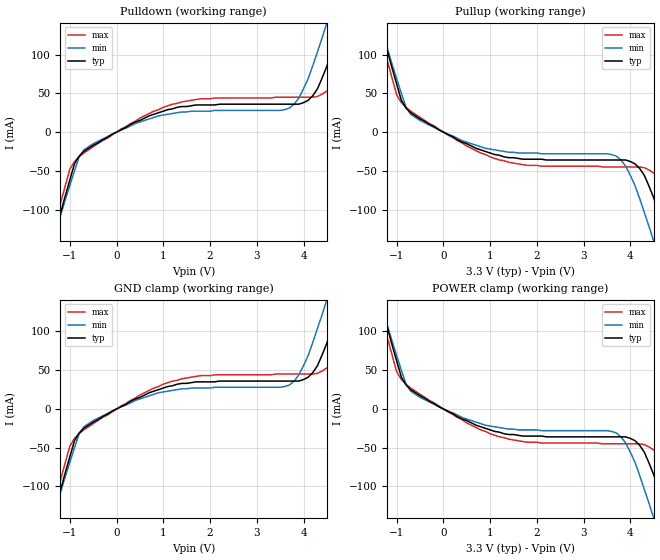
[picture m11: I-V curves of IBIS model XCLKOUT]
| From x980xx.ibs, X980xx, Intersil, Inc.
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|   XCLKOUT MODEL
[Model]   XCLKOUT
Model_type   Output
C_comp   3.218pF  3.091pF  3.347pF
|   typ   min   max
[Voltage Range]   3.3   3   3.6
[Temperature Range]  25   85   -40
[Ramp]
dV/dt_r   1.980/1.380n   1.800/1.670n   2.160/1.107n
dV/dt_f   1.980/1.380n   1.800/1.670n   2.160/1.107n
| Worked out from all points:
|   slope of the pulldown table from 0 to 0.495 V, typ, clamps not added: 33.2 ohm
|   slope of the pullup table from 0 to 0.495 V, typ, clamps not added: 33.2 ohm
|   GND clamp passes 1 mA (typ) near -0.03 V on its own axis
|   POWER clamp passes 1 mA (typ) near -0.03 V on its own axis
[Pulldown]
|V   I(typ)   I(min)   I(max)
-3.3V     -699mA     -665mA     -600mA
-1.4V     -150mA     -150mA     -137mA
-1V       -62mA      -69mA      -48mA
-700mV    -25mA      -23mA      -27mA
700mV     21mA       17mA       24mA
1.8V      35mA       27mA       43mA
3.7V      36mA       31mA       45mA
4.2V      47mA       86mA       45mA
4.5V      85mA       141mA      53mA
4.8V      142mA      201mA      84mA
5.1V      212mA      267mA      136mA
6.6V      781mA      676mA      588mA
[Pullup]
|V   I(typ)   I(min)   I(max)
-3.3V     699mA      665mA      600mA
-1.4V     150mA      150mA      137mA
-1V       62mA       69mA       48mA
-700mV    25mA       23mA       27mA
700mV     -21mA      -17mA      -24mA
1.8V      -35mA      -27mA      -43mA
3.7V      -36mA      -31mA      -45mA
4.2V      -47mA      -86mA      -45mA
4.5V      -85mA      -141mA     -53mA
4.8V      -142mA     -201mA     -84mA
5.1V      -212mA     -267mA     -136mA
6.6V      -781mA     -676mA     -588mA
[GND_Clamp]
|V   I(typ)   I(min)   I(max)
-3.3V     -699mA     -665mA     -600mA
-1.4V     -150mA     -150mA     -137mA
-1V       -62mA      -69mA      -48mA
-700mV    -25mA      -23mA      -27mA
700mV     21mA       17mA       24mA
1.8V      35mA       27mA       43mA
3.7V      36mA       31mA       45mA
4.2V      47mA       86mA       45mA
4.5V      85mA       141mA      53mA
4.8V      142mA      201mA      84mA
5.1V      212mA      267mA      136mA
6.6V      781mA      676mA      588mA
[Power_Clamp]
|V   I(typ)   I(min)   I(max)
-3.3V     699mA      665mA      600mA
-1.4V     150mA      150mA      137mA
-1V       62mA       69mA       48mA
-700mV    25mA       23mA       27mA
700mV     -21mA      -17mA      -24mA
1.8V      -35mA      -27mA      -43mA
3.7V      -36mA      -31mA      -45mA
4.2V      -47mA      -86mA      -45mA
4.5V      -85mA      -141mA     -53mA
4.8V      -142mA     -201mA     -84mA
5.1V      -212mA     -267mA     -136mA
6.6V      -781mA     -676mA     -588mA
